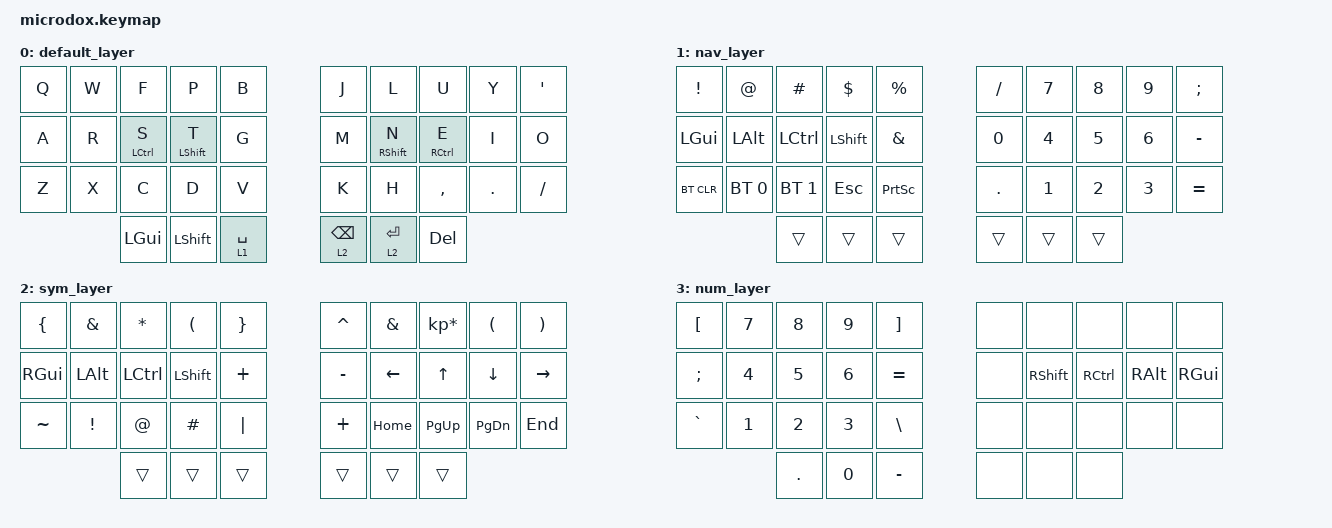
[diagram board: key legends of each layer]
/*
 * Copyright (c) 2020 The ZMK Contributors
 *
 * SPDX-License-Identifier: MIT
 */

#include <behaviors.dtsi>
#include <dt-bindings/zmk/keys.h>
#include <dt-bindings/zmk/bt.h>

/ {
        behaviors {
                hm: homerow_mods {
                compatible = "zmk,behavior-hold-tap";
                label = "HOMEROW_MODS";
                #binding-cells = <2>;
                tapping-term-ms = <250>;
                quick_tap_ms = <0>;
                flavor = "tap-preferred";
                bindings = <&kp>, <&kp>;
                };
        };

        combos {
                compatible = "zmk,combos";
                combo_esc {
                        timeout-ms = <75>;
                        key-positions = <0 1>;
                        bindings = <&kp ESC>;
                };
                combo_bksp {
                        timeout-ms = <125>;
                        key-positions = <7 8>;
                        bindings = <&kp BSPC>;
                };
                combo_entr {
                        timeout-ms = <75>;
                        key-positions = <28 29>;
                        bindings = <&kp RET>;
                };
                combo_tab {
                        timeout-ms = <75>;
                        key-positions = <20 21>;
                        bindings = <&kp TAB>;
                };
        };

        keymap {
                compatible = "zmk,keymap";

                default_layer {
// -----------------------------------------------------------------------------------------
// |  Q  |  W  |  E  |  R  |  T   |   |  Y  |  U   |  I  |  O  |  P  |
// |  A  |  S  |  D  |  F  |  G   |   |  H  |  J   |  K  |  L  |  ;  |
// |  Z  |  X  |  C  |  V  |  B   |   |  N  |  M   |  ,  |  .  |  /  |
//             | GUI | NAV | SHFT |   | SPC | SYM  | DEL |
                        bindings = <
   &kp Q   &kp W    &kp F       &kp P       &kp B      &kp J  &kp L        &kp U         &kp Y      &kp SINGLE_QUOTE
   &kp A   &kp R    &hm LCTRL S &hm LSHFT T &kp G      &kp M  &hm RSHFT N  &hm RCTRL E   &kp I      &kp O
   &kp Z   &kp X    &kp C       &kp D       &kp V      &kp K  &kp H        &kp COMMA     &kp DOT    &kp FSLH
                    &kp LGUI &kp LSHFT &lt 1 SPACE          &lt 2 BSPC &lt 2 RET &kp DEL
                        >;
                };

                nav_layer {
// -----------------------------------------------------------------------------------------
// |BTCLR|     | ESC |  ~   |     |   | TAB | HOME |  UP  | END | DEL  |
// | BT1 | GUI | ALT | CTRL | NUM |   |  /  | LEFT | DOWN | RGT | BKSP |
// | BT2 |     |     |      |     |   |  \  | ENT  |      |     |      |
//             |     |      |     |   |     |      |      |
                        bindings = <
   &kp EXCL      &kp AT        &kp HASH       &kp DLLR   &kp PRCNT    &kp FSLH  &kp N7  &kp N8  &kp N9    &kp SEMI
   &kp LGUI      &kp LALT      &kp LCTRL      &kp LSHFT  &kp AMPS     &kp N0    &kp N4  &kp N5  &kp N6    &kp MINUS
   &bt BT_CLR    &bt BT_SEL 0  &bt BT_SEL 1   &kp ESC    &kp PSCRN    &kp DOT   &kp N1  &kp N2  &kp N3    &kp EQUAL 
                            &trans   &trans   &trans        &trans   &trans   &trans
                        >;
                };

                sym_layer {
// -----------------------------------------------------------------------------------------
// |  !  |  @  |  #  |  $  |  %  |   |  ^  |  &  |  *  |  (  |  )  |
// |     |     |     |     |     |   |  -  |  =  |  {  |  }  | "|" |
// |     |     |     |     |     |   |  _  |  +  |  [  |  ]  |  \  |
//             | GUI |     | SPC |   | ENT |     | ALT |
                        bindings = <
   &kp LBRC    &kp AMPS    &kp ASTRK   &kp LPAR    &kp RBRC        &kp CARET  &kp AMPS   &kp KP_MULTIPLY &kp LPAR  &kp RPAR
   &kp RGUI    &kp LALT    &kp LCTRL   &kp LSHFT   &kp PLUS        &kp MINUS  &kp LEFT   &kp UP          &kp DOWN  &kp RIGHT
   &kp TILDE   &kp EXCL    &kp AT      &kp HASH    &kp PIPE        &kp PLUS   &kp HOME   &kp PG_UP       &kp PG_DN &kp END
                                &trans   &trans   &trans        &trans   &trans   &trans
                        >;
                };

// This layer is unreachable until "tri layer state" is sorted out.
// Leaving it here for completeness.
                num_layer {
// -----------------------------------------------------------------------------------------
// |     |     |     |     |     |   |  A  |  7  |  8  |  9  |  D  |
// |     |     |     |     |     |   |  B  |  4  |  5  |  6  |  E  |
// |     |     |     |     |     |   |  C  |  1  |  2  |  3  |  F  |
//             |     |     |     |   |  0  |  .  |     |
                        bindings = <
   &kp LBKT    &kp N7    &kp N8    &kp N9    &kp RBKT    &none        &none        &none        &none        &none
   &kp SEMI    &kp N4    &kp N5    &kp N6    &kp EQUAL   &none        &kp RSHFT    &kp RCTRL    &kp RALT     &kp RGUI
   &kp GRAVE   &kp N1    &kp N2    &kp N3    &kp BSLH    &none        &none        &none        &none        &none
                 &kp DOT      &kp N0       &kp MINUS     &none        &none        &none  
                        >;
                };
        };
};
